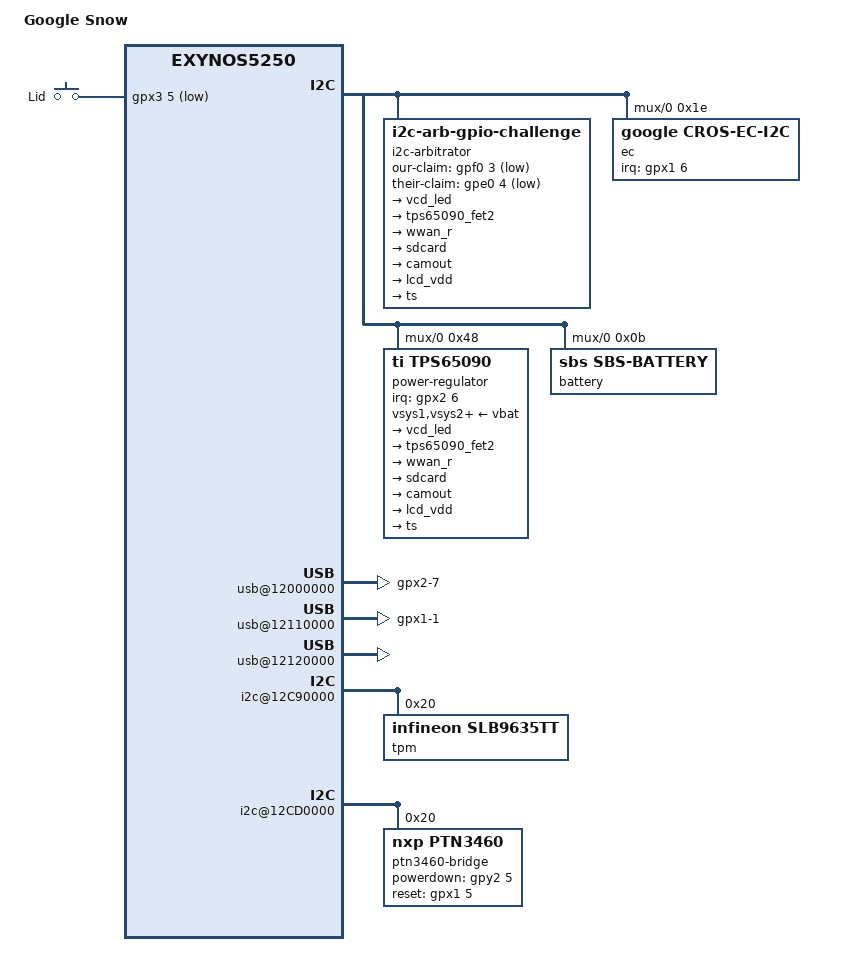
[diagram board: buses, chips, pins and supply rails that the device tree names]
/*
 * Google Snow board device tree source
 *
 * Copyright (c) 2012 Google, Inc
 *
 * This program is free software; you can redistribute it and/or modify
 * it under the terms of the GNU General Public License version 2 as
 * published by the Free Software Foundation.
*/

/dts-v1/;
#include "exynos5250.dtsi"
#include "cros5250-common.dtsi"

/ {
	model = "Google Snow";
	compatible = "google,snow", "samsung,exynos5250";

	aliases {
		i2c104 = &i2c_104;
	};

	pinctrl@11400000 {
		sd3_clk: sd3-clk {
			samsung,pin-drv = <0>;
		};

		sd3_cmd: sd3-cmd {
			samsung,pin-pud = <3>;
			samsung,pin-drv = <0>;
		};

		sd3_bus4: sd3-bus-width4 {
			samsung,pin-drv = <0>;
		};

		audio_detection: audio-detection {
			samsung,pins = "gpx2-0", "gpx2-2";
			samsung,pin-function = <0>;
			samsung,pin-pud = <0>;
			samsung,pin-drv = <0>;
		};

		ec_irq: ec-irq {
			samsung,pins = "gpx1-6";
			samsung,pin-function = <0>;
			samsung,pin-pud = <0>;
			samsung,pin-drv = <0>;
		};

		lid_irq: lid-irq {
			samsung,pins = "gpx3-5";
			samsung,pin-function = <0>;
			samsung,pin-pud = <0>;
			samsung,pin-drv = <0>;
		};

		ptn3460_gpios: ptn3460-gpios {
			samsung,pins = "gpy2-5", "gpx1-5";
			samsung,pin-function = <1>;
			samsung,pin-pud = <0>;
			samsung,pin-drv = <0>;
		};

		tps65090_irq: tps65090-irq {
			samsung,pins = "gpx2-6";
			samsung,pin-function = <0>;
			samsung,pin-pud = <0>;
			samsung,pin-drv = <0>;
		};

		usb2_vbus_en: usb2-vbus-en {
			samsung,pins = "gpx1-1";
			samsung,pin-function = <1>;
			samsung,pin-pud = <0>;
			samsung,pin-drv = <0>;
		};

		usb3_phyclk_en: usb3-phyclk-en {
			samsung,pins = "gpy1-1";
			samsung,pin-function = <1>;
			samsung,pin-pud = <0>;
			samsung,pin-drv = <0>;
		};

		usb3_vbus_en: usb3-vbus-en {
			samsung,pins = "gpx2-7";
			samsung,pin-function = <1>;
			samsung,pin-pud = <0>;
			samsung,pin-drv = <0>;
		};
	};

	pinctrl@13400000 {
		arb_their_claim: arb-their-claim {
			samsung,pins = "gpe0-4";
			samsung,pin-function = <0>;
			samsung,pin-pud = <3>;
			samsung,pin-drv = <0>;
		};

		arb_our_claim: arb-our-claim {
			samsung,pins = "gpf0-3";
			samsung,pin-function = <1>;
			samsung,pin-pud = <0>;
			samsung,pin-drv = <0>;
		};
	};

	gpio-keys {
		compatible = "gpio-keys";

		pinctrl-names = "default";
		pinctrl-0 = <&power_key_irq &lid_irq>;

		lid-switch {
			label = "Lid";
			gpios = <&gpx3 5 1>;
			linux,input-type = <5>; /* EV_SW */
			linux,code = <0>; /* SW_LID */
			debounce-interval = <1>;
			gpio-key,wakeup;
		};
	};

	dwmmc2@12220000 {
		disable-mmc;
	};

	i2c-arbitrator {
		compatible = "i2c-arb-gpio-challenge";
		#address-cells = <1>;
		#size-cells = <0>;

		i2c-parent = <&{/i2c@12CA0000}>;

		our-claim-gpio = <&gpf0 3 1>;
		their-claim-gpios = <&gpe0 4 1>;
		slew-delay-us = <10>;
		wait-retry-us = <3000>;
		wait-free-us = <50000>;

		pinctrl-names = "default";
		pinctrl-0 = <&arb_our_claim &arb_their_claim>;

		/* Use ID 104 as a hint that we're on physical bus 4 */
		i2c_104: i2c@0 {
			reg = <0>;
			#address-cells = <1>;
			#size-cells = <0>;

			ec: cros-ec@1e {
				compatible = "google,cros-ec-i2c";
				reg = <0x1e>;
				interrupts = <6 0>;
				interrupt-parent = <&gpx1>;
				pinctrl-names = "default";
				pinctrl-0 = <&ec_irq>;
				wakeup-source;

				cros-ec-keyb {
					compatible = "google,cros-ec-keyb";
					keypad,num-rows = <8>;
					keypad,num-columns = <13>;
					google,needs-ghost-filter;

					/*
					 * Keymap entries take the form of 0xRRCCKKKK where
					 * RR=Row CC=Column KKKK=Key Code
					 * The values below are for a US keyboard layout and
					 * are taken from the Linux driver. Note that the
					 * 102ND key is not used for US keyboards.
					 */
					linux,keymap = <
						/* CAPSLCK F1         B          F10     */
						0x0001003a 0x0002003b 0x00030030 0x00040044
						/* N       =          R_ALT      ESC     */
						0x00060031 0x0008000d 0x000a0064 0x01010001
						/* F4      G          F7         H       */
						0x0102003e 0x01030022 0x01040041 0x01060023
						/* '       F9         BKSPACE    L_CTRL  */
						0x01080028 0x01090043 0x010b000e 0x0200001d
						/* TAB     F3         T          F6      */
						0x0201000f 0x0202003d 0x02030014 0x02040040
						/* ]       Y          102ND      [       */
						0x0205001b 0x02060015 0x02070056 0x0208001a
						/* F8      GRAVE      F2         5       */
						0x02090042 0x03010029 0x0302003c 0x03030006
						/* F5      6          -          \       */
						0x0304003f 0x03060007 0x0308000c 0x030b002b
						/* R_CTRL  A          D          F       */
						0x04000061 0x0401001e 0x04020020 0x04030021
						/* S       K          J          ;       */
						0x0404001f 0x04050025 0x04060024 0x04080027
						/* L       ENTER      Z          C       */
						0x04090026 0x040b001c 0x0501002c 0x0502002e
						/* V       X          ,          M       */
						0x0503002f 0x0504002d 0x05050033 0x05060032
						/* L_SHIFT /          .          SPACE   */
						0x0507002a 0x05080035 0x05090034 0x050B0039
						/* 1       3          4          2       */
						0x06010002 0x06020004 0x06030005 0x06040003
						/* 8       7          0          9       */
						0x06050009 0x06060008 0x0608000b 0x0609000a
						/* L_ALT   DOWN       RIGHT      Q       */
						0x060a0038 0x060b006c 0x060c006a 0x07010010
						/* E       R          W          I       */
						0x07020012 0x07030013 0x07040011 0x07050017
						/* U       R_SHIFT    P          O       */
						0x07060016 0x07070036 0x07080019 0x07090018
						/* UP      LEFT    */
						0x070b0067 0x070c0069>;
				};
			};

			power-regulator {
				compatible = "ti,tps65090";
				reg = <0x48>;
				interrupts = <6 0>;
				interrupt-parent = <&gpx2>;
				pinctrl-names = "default";
				pinctrl-0 = <&tps65090_irq>;
				no-ack-irq;

				vsys1-supply = <&vbat>;
				vsys2-supply = <&vbat>;
				vsys3-supply = <&vbat>;
				infet1-supply = <&vbat>;
				infet2-supply = <&vbat>;
				infet3-supply = <&vbat>;
				infet4-supply = <&vbat>;
				infet5-supply = <&vbat>;
				infet6-supply = <&vbat>;
				infet7-supply = <&vbat>;
				vsys-l1-supply = <&vbat>;
				vsys-l2-supply = <&vbat>;

				regulators {
					dcdc1 {
						ti,enable-ext-control;
					};
					dcdc2 {
						ti,enable-ext-control;
					};
					dcdc3 {
						ti,enable-ext-control;
					};
					fet1 {
						regulator-name = "vcd_led";
					};
					tps65090_fet2: fet2 {
						regulator-name = "video_mid";
						regulator-always-on;
					};
					fet3 {
						regulator-name = "wwan_r";
						regulator-always-on;
					};
					fet4 {
						regulator-name = "sdcard";
					};
					fet5 {
						regulator-name = "camout";
						regulator-always-on;
					};
					fet6 {
						regulator-name = "lcd_vdd";
					};
					fet7 {
						regulator-name = "ts";
					};
					ldo1 {
					};
					ldo2 {
					};
				};
			};

			battery: sbs-battery@b {
				compatible = "sbs,sbs-battery";
				reg = <0xb>;
				sbs,poll-retry-count = <1>;
			};
		};
	};

	/*
	 * On Snow we've got SIP WiFi and so can keep drive strengths low to
	 * reduce EMI.
	 */
	dwmmc3@12230000 {
		pinctrl-names = "default";
		pinctrl-0 = <&sd3_clk &sd3_cmd &sd3_bus4>;
	};

	usb@12000000 {
		samsung,vbus-gpio = <&gpx2 7 0>;
		status = "okay";
		pinctrl-names = "default";
		pinctrl-0 = <&usb3_vbus_en>;
	};

	usbphy@12100000 {
		samsung,phyclk-gpio = <&gpy1 1 0>;
		pinctrl-names = "default";
		pinctrl-0 = <&usb3_phyclk_en>;
	};

	usb@12110000 {
		samsung,vbus-gpio = <&gpx1 1 0>;
		status = "okay";
		pinctrl-names = "default";
		pinctrl-0 = <&usb2_vbus_en>;
	};

	usb@12120000 {
		status = "okay";
	};

	lcd_fimd0: lcd_panel0 {
			lcd-htiming = <40 40 32 1366>;
			lcd-vtiming = <10 12 6 768>;
	};

	fimd {
		samsung,fimd-display = <&lcd_fimd0>;
		samsung,fimd-vidout-rgb;
		samsung,fimd-inv-vclk;
		samsung,fimd-frame-rate = <60>;
		samsung,default-window = <0>;
		samsung,fimd-win-bpp = <32>;
		samsung,src-clk-name = "sclk_vpll";
		samsung,fimd-src-clk-rate = <70500000>;
	};

	display-port-controller {
		samsung,color-space = <0>;
		samsung,dynamic-range = <0>;
		samsung,ycbcr-coeff = <0>;
		samsung,color-depth = <1>;
		samsung,link-rate = <0x0a>;
		samsung,lane-count = <2>;
	};

	hdmi {
		hdmi-en-supply = <&tps65090_fet2>;
		vdd-supply = <&ldo8_reg>;
		vdd_osc-supply = <&ldo10_reg>;
		vdd_pll-supply = <&ldo8_reg>;
	};

	sound {
		samsung,mic-det-gpios = <&gpx2 0 1>;
		samsung,hp-det-gpios = <&gpx2 2 0>;
		pinctrl-names = "default";
		pinctrl-0 = <&audio_detection>;
	};

	i2c@12C90000 {
		tpm {
			compatible = "infineon,slb9635tt";
			reg = <0x20>;
		};
	};

	i2c@12CD0000 {
		ptn3460-bridge@20 {
			compatible = "nxp,ptn3460";
			reg = <0x20>;
			powerdown-gpio = <&gpy2 5 0>;
			reset-gpio = <&gpx1 5 0>;
			edid-emulation = <5>;
			pinctrl-names = "default";
			pinctrl-0 = <&ptn3460_gpios>;
		};
	};

	fixed-rate-clocks {
		xxti {
			compatible = "samsung,clock-xxti";
			clock-frequency = <24000000>;
		};
	};

	pinctrl@11400000 {
		gpa0: gpa0 {
			powerdown-settings = <6 6 6 6 3 3 2 2>;
		};
		gpa1: gpa1 {
			powerdown-settings = <3 3 2 2 3 3>;
		};
		gpa2: gpa2 {
			powerdown-settings = <2 2 2 2 3 2 2 2>;
		};
		gpb0: gpb0 {
			powerdown-settings = <3 3 3 3 3>;
		};
		gpb1: gpb1 {
			powerdown-settings = <3 3 3 3 3>;
		};
		gpb2: gpb2 {
			powerdown-settings = <3 3 2 2>;
		};
		gpb3: gpb3 {
			powerdown-settings = <2 2 2 2>;
		};
		gpc0: gpc0 {
			powerdown-settings = <6 2 2 2 2 2 2>;
		};
		gpc1: gpc1 {
			powerdown-settings = <2 2 2 2>;
		};
		gpc2: gpc2 {
			powerdown-settings = <3 1 3 3 3 3 3>;
		};
		gpc3: gpc3 {
			powerdown-settings = <6 2 1 2 2 2 2>;
		};
		gpc4: gpc4 {
			powerdown-settings = <6 2 3 2 2 2 2>;
		};
		gpd0: gpd0 {
			powerdown-settings = <6 6 3 3>;
		};
		gpd1: gpd1 {
			powerdown-settings = <6 6 6 3 3 6 1 1>;
		};
		gpy0: gpy0 {
			powerdown-settings = <3 3 6 3 3 3>;
		};
		gpy1: gpy1 {
			powerdown-settings = <5 3 3 3>;
		};
		gpy2: gpy2 {
			powerdown-settings = <3 3 3 3 3 2>;
		};
		gpy3: gpy3 {
			powerdown-settings = <3 3 3 3 3 3 3 3>;
		};
		gpy4: gpy4 {
			powerdown-settings = <3 3 3 3 3 3 3 3>;
		};
		gpy5: gpy5 {
			powerdown-settings = <3 3 3 3 3 3 3 3>;
		};
		gpy6: gpy6 {
			powerdown-settings = <3 3 3 3 3 3 3 3>;
		};
	};
	pinctrl@13400000 {
		gpe0: gpe0 {
			powerdown-settings = <5 3 3 3 2 2 3 3>;
		};
		gpe1: gpe1 {
			powerdown-settings = <5 3>;
		};
		gpf0: gpf0 {
			powerdown-settings = <3 3 1 2>;
		};
		gpf1: gpf1 {
			powerdown-settings = <3 3 3 3>;
		};
		gpg0: gpg0 {
			powerdown-settings = <3 3 3 3 3 3 3 3>;
		};
		gpg1: gpg1 {
			powerdown-settings = <3 3 3 3 3 3 3 3>;
		};
		gpg2: gpg2 {
			powerdown-settings = <3 3>;
		};
		gph0: gph0 {
			powerdown-settings = <3 3 3 3>;
		};
		gph1: gph1 {
			powerdown-settings = <3 3 3 3 3 3 3 3>;
		};
	};
	pinctrl@10d10000 {
		gpv0: gpv0 {
			powerdown-settings = <3 3 3 3 3 3 3 3>;
		};
		gpv1: gpv1 {
			powerdown-settings = <3 3 3 3 3 3 3 3>;
		};
		gpv2: gpv2 {
			powerdown-settings = <3 3 3 3 3 3 3 3>;
		};
		gpv3: gpv3 {
			powerdown-settings = <3 3 3 3 3 3 3 3>;
		};
		gpv4: gpv4 {
			powerdown-settings = <3 3>;
		};
	};
	pinctrl@03860000 {
		gpz: gpz {
			powerdown-settings = <6 3 6 6 6 3 3>;
		};
	};

};
